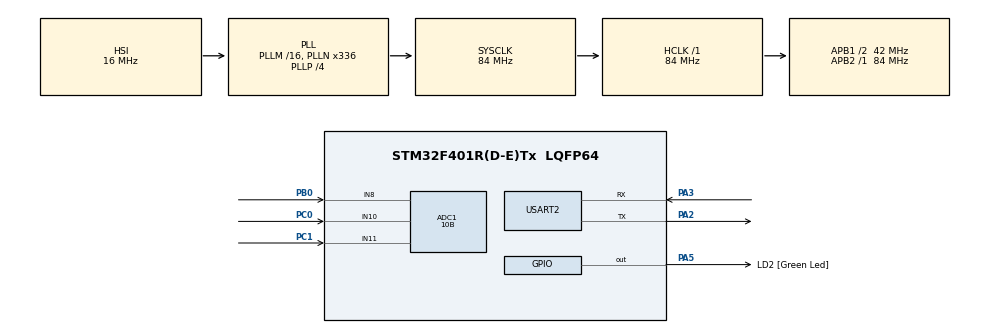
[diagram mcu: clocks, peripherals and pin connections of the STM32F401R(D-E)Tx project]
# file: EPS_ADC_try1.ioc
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ADC1.Channel-1\#ChannelRegularConversion=ADC_CHANNEL_8
ADC1.Channel-2\#ChannelRegularConversion=ADC_CHANNEL_10
ADC1.Channel-3\#ChannelRegularConversion=ADC_CHANNEL_11
ADC1.ContinuousConvMode=DISABLE
ADC1.DMAContinuousRequests=ENABLE
ADC1.EOCSelection=ADC_EOC_SEQ_CONV
ADC1.ExternalTrigConv=ADC_EXTERNALTRIGCONV_T3_TRGO
ADC1.NbrOfConversion=3
ADC1.NbrOfConversionFlag=1
ADC1.Rank-1\#ChannelRegularConversion=1
ADC1.Rank-2\#ChannelRegularConversion=2
ADC1.Rank-3\#ChannelRegularConversion=3
ADC1.Resolution=ADC_RESOLUTION_10B
ADC1.SamplingTime-1\#ChannelRegularConversion=ADC_SAMPLETIME_15CYCLES
ADC1.SamplingTime-2\#ChannelRegularConversion=ADC_SAMPLETIME_15CYCLES
ADC1.SamplingTime-3\#ChannelRegularConversion=ADC_SAMPLETIME_15CYCLES
ADC1.ScanConvMode=ENABLE
ADC1.master=1
Dma.ADC1.0.Direction=DMA_PERIPH_TO_MEMORY
Dma.ADC1.0.FIFOMode=DMA_FIFOMODE_DISABLE
Dma.ADC1.0.Instance=DMA2_Stream0
Dma.ADC1.0.MemDataAlignment=DMA_MDATAALIGN_WORD
Dma.ADC1.0.MemInc=DMA_MINC_ENABLE
Dma.ADC1.0.Mode=DMA_CIRCULAR
Dma.ADC1.0.PeriphDataAlignment=DMA_PDATAALIGN_WORD
Dma.ADC1.0.PeriphInc=DMA_PINC_DISABLE
Dma.ADC1.0.Priority=DMA_PRIORITY_LOW
Dma.Request0=ADC1
Mcu.Family=STM32F4
Mcu.Name=STM32F401R(D-E)Tx
Mcu.Package=LQFP64
NVIC.ADC_IRQn=true\:0\:0\:false\:false\:true\:true\:true\:true
NVIC.DMA2_Stream0_IRQn=true\:0\:0\:false\:false\:true\:false\:true\:true
NVIC.PriorityGroup=NVIC_PRIORITYGROUP_0
PA2.Mode=Asynchronous
PA2.Signal=USART2_TX
PA3.Mode=Asynchronous
PA3.Signal=USART2_RX
PA5.GPIO_Label=LD2 [Green Led]
PA5.GPIO_Mode=GPIO_MODE_OUTPUT_PP
PA5.GPIO_PuPd=GPIO_NOPULL
PA5.GPIO_Speed=GPIO_SPEED_FREQ_LOW
PA5.Signal=GPIO_Output
PB0.Signal=ADCx_IN8
PC0.Signal=ADCx_IN10
PC1.Signal=ADCx_IN11
ProjectManager.HeapSize=0x200
ProjectManager.StackSize=0x400
ProjectManager.TargetToolchain=STM32CubeIDE
RCC.48MHZClocksFreq_Value=48000000
RCC.AHBFreq_Value=84000000
RCC.APB1CLKDivider=RCC_HCLK_DIV2
RCC.APB1Freq_Value=42000000
RCC.APB1TimFreq_Value=84000000
RCC.APB2Freq_Value=84000000
RCC.APB2TimFreq_Value=84000000
RCC.CortexFreq_Value=84000000
RCC.HCLKFreq_Value=84000000
RCC.HSE_VALUE=8000000
RCC.HSI_VALUE=16000000
RCC.LSE_VALUE=32768
RCC.PLLN=336
RCC.PLLP=RCC_PLLP_DIV4
RCC.PLLQ=7
RCC.SYSCLKFreq_VALUE=84000000
RCC.SYSCLKSource=RCC_SYSCLKSOURCE_PLLCLK
RCC.VCOOutputFreq_Value=336000000
SH.ADCx_IN10.0=ADC1_IN10,IN10
SH.ADCx_IN11.0=ADC1_IN11,IN11
SH.ADCx_IN8.0=ADC1_IN8,IN8
TIM3.Period=100
TIM3.Prescaler=8400
TIM3.TIM_MasterOutputTrigger=TIM_TRGO_UPDATE
USART2.VirtualMode=VM_ASYNC
VP_RTC_VS_RTC_Activate.Mode=RTC_Enabled
VP_RTC_VS_RTC_Calendar.Mode=RTC_Calendar
VP_TIM3_VS_ClockSourceINT.Mode=Internal
board=NUCLEO-F401RE

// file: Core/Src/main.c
/* USER CODE BEGIN Header */
/**
  ******************************************************************************
  * @file           : main.c
  * @brief          : Main program body
  ******************************************************************************
  * @attention
  *
  * Copyright (c) 2023 STMicroelectronics.
  * All rights reserved.
  *
  * This software is licensed under terms that can be found in the LICENSE file
  * in the root directory of this software component.
  * If no LICENSE file comes with this software, it is provided AS-IS.
  *
  ******************************************************************************
  */
/* USER CODE END Header */
#include "main.h"

/* USER CODE BEGIN Includes */
#include <stdbool.h>
#include <string.h>
#include <stdio.h>
/* USER CODE END Includes */

/* USER CODE BEGIN PTD */
char time[30];
char date[30];

/* USER CODE END PTD */
RTC_TimeTypeDef sTime;
 RTC_DateTypeDef sDate;

 ADC_HandleTypeDef hadc1;
DMA_HandleTypeDef hdma_adc1;

RTC_HandleTypeDef hrtc;

TIM_HandleTypeDef htim3;

UART_HandleTypeDef huart2;

void SystemClock_Config(void);
static void MX_GPIO_Init(void);
static void MX_DMA_Init(void);
static void MX_USART2_UART_Init(void);
static void MX_ADC1_Init(void);
static void MX_TIM3_Init(void);
static void MX_RTC_Init(void);

/* USER CODE BEGIN 0 */
uint32_t adcVal[3];
uint8_t myTxData1[13] ="Hello1";
float multiplier =0.1;
float R1=30000.0;
float R2=7440.0;
float ref=3.3;

float av1;
float av2;
float av3;
float sum1=0;
float sum2=0;
float sum3=0;

char uartBuf[1000];
/* USER CODE END 0 */

int main(void)
{

  /* MCU Configuration--------------------------------------------------------*/

  /* Reset of all peripherals, Initializes the Flash interface and the Systick. */
  HAL_Init();

  /* Configure the system clock */
  SystemClock_Config();

  /* Initialize all configured peripherals */
  MX_GPIO_Init();
  MX_DMA_Init();
  MX_USART2_UART_Init();
  MX_ADC1_Init();
  MX_TIM3_Init();
  MX_RTC_Init();
  /* USER CODE BEGIN 2 */
  // start the timer 3
  HAL_TIM_Base_Start(&htim3);
  // start adc as dma
  HAL_ADC_Start_DMA(&hadc1,adcVal,3);
  /* USER CODE END 2 */

  /* Infinite loop */
  while (1)
  {
	  HAL_RTC_GetTime(&hrtc, &sTime, RTC_FORMAT_BIN);
	  HAL_RTC_GetDate(&hrtc, &sDate, RTC_FORMAT_BIN);

    /* USER CODE BEGIN 3 */
	  for(int i=0;i<1000;i++)
	    {
	    //float SensorRead = analogRead(A0)*(5.0 / 1023.0);     //We read the sensor output
	    float Current = ((adcVal[0]*(3.3/1024))-1.65)/multiplier;                  //Calculate the current value508
	    //float SensorRead2 = analogRead(A1)*(5.0 / 1023.0);     //We read the sensor output
	    float Current2 = ((adcVal[1]*(3.3/1024))-1.65)/multiplier;                  //Calculate the current value
	    //float adc=analogRead(A2);
	    //Serial.println(adc);
	    float volt= ((adcVal[2]*ref)/1024)/(R2/(R1+R2));
	    //volt=adc;
	    sum1=Current + sum1;
	    sum2=Current2 + sum2;
	    sum3=volt+sum3;
	    }
	   HAL_Delay(200);
	    av1=sum1/1000; //bat
	    av2=sum2/1000; //bus
	    av3=sum3/1000; //batvolt
	    sum1=0;
	    sum2=0;
	    sum3=0;
	   // sprintf(uartBuf, "adc1= %d,adc2= %d,adc3= %d\r\n",adcVal[0],adcVal[1],adcVal[2]);
	  	//  	  HAL_UART_Transmit(&huart2, (uint8_t *)uartBuf, strlen(uartBuf), 100);

	 sprintf(uartBuf, "%02d.%02d,%03f,%03f,%03f,\n",sTime.Minutes,sTime.Seconds,av1,av2,av3);
	  	  HAL_UART_Transmit(&huart2, (uint8_t *)uartBuf, strlen(uartBuf), 1000);

	  	  //HAL_Delay(500);

  }
  /* USER CODE END 3 */
}

void SystemClock_Config(void)
{
  RCC_OscInitTypeDef RCC_OscInitStruct = {0};
  RCC_ClkInitTypeDef RCC_ClkInitStruct = {0};

  /** Configure the main internal regulator output voltage
  */
  __HAL_RCC_PWR_CLK_ENABLE();
  __HAL_PWR_VOLTAGESCALING_CONFIG(PWR_REGULATOR_VOLTAGE_SCALE2);

  /** Initializes the RCC Oscillators according to the specified parameters
  * in the RCC_OscInitTypeDef structure.
  */
  RCC_OscInitStruct.OscillatorType = RCC_OSCILLATORTYPE_HSI|RCC_OSCILLATORTYPE_LSI;
  RCC_OscInitStruct.HSIState = RCC_HSI_ON;
  RCC_OscInitStruct.HSICalibrationValue = RCC_HSICALIBRATION_DEFAULT;
  RCC_OscInitStruct.LSIState = RCC_LSI_ON;
  RCC_OscInitStruct.PLL.PLLState = RCC_PLL_ON;
  RCC_OscInitStruct.PLL.PLLSource = RCC_PLLSOURCE_HSI;
  RCC_OscInitStruct.PLL.PLLM = 16;
  RCC_OscInitStruct.PLL.PLLN = 336;
  RCC_OscInitStruct.PLL.PLLP = RCC_PLLP_DIV4;
  RCC_OscInitStruct.PLL.PLLQ = 7;
  if (HAL_RCC_OscConfig(&RCC_OscInitStruct) != HAL_OK)
  {
    Error_Handler();
  }

  /** Initializes the CPU, AHB and APB buses clocks
  */
  RCC_ClkInitStruct.ClockType = RCC_CLOCKTYPE_HCLK|RCC_CLOCKTYPE_SYSCLK
                              |RCC_CLOCKTYPE_PCLK1|RCC_CLOCKTYPE_PCLK2;
  RCC_ClkInitStruct.SYSCLKSource = RCC_SYSCLKSOURCE_PLLCLK;
  RCC_ClkInitStruct.AHBCLKDivider = RCC_SYSCLK_DIV1;
  RCC_ClkInitStruct.APB1CLKDivider = RCC_HCLK_DIV2;
  RCC_ClkInitStruct.APB2CLKDivider = RCC_HCLK_DIV1;

  if (HAL_RCC_ClockConfig(&RCC_ClkInitStruct, FLASH_LATENCY_2) != HAL_OK)
  {
    Error_Handler();
  }
}

static void MX_ADC1_Init(void)
{

  ADC_ChannelConfTypeDef sConfig = {0};

  /** Configure the global features of the ADC (Clock, Resolution, Data Alignment and number of conversion)
  */
  hadc1.Instance = ADC1;
  hadc1.Init.ClockPrescaler = ADC_CLOCK_SYNC_PCLK_DIV4;
  hadc1.Init.Resolution = ADC_RESOLUTION_10B;
  hadc1.Init.ScanConvMode = ENABLE;
  hadc1.Init.ContinuousConvMode = DISABLE;
  hadc1.Init.DiscontinuousConvMode = DISABLE;
  hadc1.Init.ExternalTrigConvEdge = ADC_EXTERNALTRIGCONVEDGE_RISING;
  hadc1.Init.ExternalTrigConv = ADC_EXTERNALTRIGCONV_T3_TRGO;
  hadc1.Init.DataAlign = ADC_DATAALIGN_RIGHT;
  hadc1.Init.NbrOfConversion = 3;
  hadc1.Init.DMAContinuousRequests = ENABLE;
  hadc1.Init.EOCSelection = ADC_EOC_SEQ_CONV;
  if (HAL_ADC_Init(&hadc1) != HAL_OK)
  {
    Error_Handler();
  }

  /** Configure for the selected ADC regular channel its corresponding rank in the sequencer and its sample time.
  */
  sConfig.Channel = ADC_CHANNEL_8;
  sConfig.Rank = 1;
  sConfig.SamplingTime = ADC_SAMPLETIME_15CYCLES;
  if (HAL_ADC_ConfigChannel(&hadc1, &sConfig) != HAL_OK)
  {
    Error_Handler();
  }

  /** Configure for the selected ADC regular channel its corresponding rank in the sequencer and its sample time.
  */
  sConfig.Channel = ADC_CHANNEL_10;
  sConfig.Rank = 2;
  if (HAL_ADC_ConfigChannel(&hadc1, &sConfig) != HAL_OK)
  {
    Error_Handler();
  }

  /** Configure for the selected ADC regular channel its corresponding rank in the sequencer and its sample time.
  */
  sConfig.Channel = ADC_CHANNEL_11;
  sConfig.Rank = 3;
  if (HAL_ADC_ConfigChannel(&hadc1, &sConfig) != HAL_OK)
  {
    Error_Handler();
  }

}

static void MX_RTC_Init(void)
{

  RTC_TimeTypeDef sTime = {0};
  RTC_DateTypeDef sDate = {0};

  /** Initialize RTC Only
  */
  hrtc.Instance = RTC;
  hrtc.Init.HourFormat = RTC_HOURFORMAT_24;
  hrtc.Init.AsynchPrediv = 127;
  hrtc.Init.SynchPrediv = 255;
  hrtc.Init.OutPut = RTC_OUTPUT_DISABLE;
  hrtc.Init.OutPutPolarity = RTC_OUTPUT_POLARITY_HIGH;
  hrtc.Init.OutPutType = RTC_OUTPUT_TYPE_OPENDRAIN;
  if (HAL_RTC_Init(&hrtc) != HAL_OK)
  {
    Error_Handler();
  }

  /** Initialize RTC and set the Time and Date
  */
  sTime.Hours = 0x0;
  sTime.Minutes = 0x0;
  sTime.Seconds = 0x0;
  sTime.DayLightSaving = RTC_DAYLIGHTSAVING_NONE;
  sTime.StoreOperation = RTC_STOREOPERATION_RESET;
  if (HAL_RTC_SetTime(&hrtc, &sTime, RTC_FORMAT_BCD) != HAL_OK)
  {
    Error_Handler();
  }
  sDate.WeekDay = RTC_WEEKDAY_MONDAY;
  sDate.Month = RTC_MONTH_JANUARY;
  sDate.Date = 0x1;
  sDate.Year = 0x0;

  if (HAL_RTC_SetDate(&hrtc, &sDate, RTC_FORMAT_BCD) != HAL_OK)
  {
    Error_Handler();
  }

}

static void MX_TIM3_Init(void)
{

  TIM_ClockConfigTypeDef sClockSourceConfig = {0};
  TIM_MasterConfigTypeDef sMasterConfig = {0};

  htim3.Instance = TIM3;
  htim3.Init.Prescaler = 8400;
  htim3.Init.CounterMode = TIM_COUNTERMODE_UP;
  htim3.Init.Period = 100;
  htim3.Init.ClockDivision = TIM_CLOCKDIVISION_DIV1;
  htim3.Init.AutoReloadPreload = TIM_AUTORELOAD_PRELOAD_DISABLE;
  if (HAL_TIM_Base_Init(&htim3) != HAL_OK)
  {
    Error_Handler();
  }
  sClockSourceConfig.ClockSource = TIM_CLOCKSOURCE_INTERNAL;
  if (HAL_TIM_ConfigClockSource(&htim3, &sClockSourceConfig) != HAL_OK)
  {
    Error_Handler();
  }
  sMasterConfig.MasterOutputTrigger = TIM_TRGO_UPDATE;
  sMasterConfig.MasterSlaveMode = TIM_MASTERSLAVEMODE_DISABLE;
  if (HAL_TIMEx_MasterConfigSynchronization(&htim3, &sMasterConfig) != HAL_OK)
  {
    Error_Handler();
  }

}

static void MX_USART2_UART_Init(void)
{

  huart2.Instance = USART2;
  huart2.Init.BaudRate = 115200;
  huart2.Init.WordLength = UART_WORDLENGTH_8B;
  huart2.Init.StopBits = UART_STOPBITS_1;
  huart2.Init.Parity = UART_PARITY_NONE;
  huart2.Init.Mode = UART_MODE_TX_RX;
  huart2.Init.HwFlowCtl = UART_HWCONTROL_NONE;
  huart2.Init.OverSampling = UART_OVERSAMPLING_16;
  if (HAL_UART_Init(&huart2) != HAL_OK)
  {
    Error_Handler();
  }

}

static void MX_DMA_Init(void)
{

  /* DMA controller clock enable */
  __HAL_RCC_DMA2_CLK_ENABLE();

  /* DMA interrupt init */
  /* DMA2_Stream0_IRQn interrupt configuration */
  HAL_NVIC_SetPriority(DMA2_Stream0_IRQn, 0, 0);
  HAL_NVIC_EnableIRQ(DMA2_Stream0_IRQn);

}

static void MX_GPIO_Init(void)
{
  GPIO_InitTypeDef GPIO_InitStruct = {0};

  /* GPIO Ports Clock Enable */
  __HAL_RCC_GPIOC_CLK_ENABLE();
  __HAL_RCC_GPIOA_CLK_ENABLE();
  __HAL_RCC_GPIOB_CLK_ENABLE();

  /*Configure GPIO pin Output Level */
  HAL_GPIO_WritePin(LD2_GPIO_Port, LD2_Pin, GPIO_PIN_RESET);

  /*Configure GPIO pin : LD2_Pin */
  GPIO_InitStruct.Pin = LD2_Pin;
  GPIO_InitStruct.Mode = GPIO_MODE_OUTPUT_PP;
  GPIO_InitStruct.Pull = GPIO_NOPULL;
  GPIO_InitStruct.Speed = GPIO_SPEED_FREQ_LOW;
  HAL_GPIO_Init(LD2_GPIO_Port, &GPIO_InitStruct);

}

/* USER CODE BEGIN 4 */
void HAL_ADC_ConvCpltCallback(ADC_HandleTypeDef* hadc)
{
  /* Prevent unused argument(s) compilation warning */
  UNUSED(hadc);
  /* NOTE : This function Should not be modified, when the callback is needed,
            the HAL_ADC_ConvCpltCallback could be implemented in the user file
   */
  HAL_GPIO_TogglePin(GPIOA, GPIO_PIN_5);
}
/* USER CODE END 4 */

void Error_Handler(void)
{
  __disable_irq();
  while (1)
  {
  }
}
